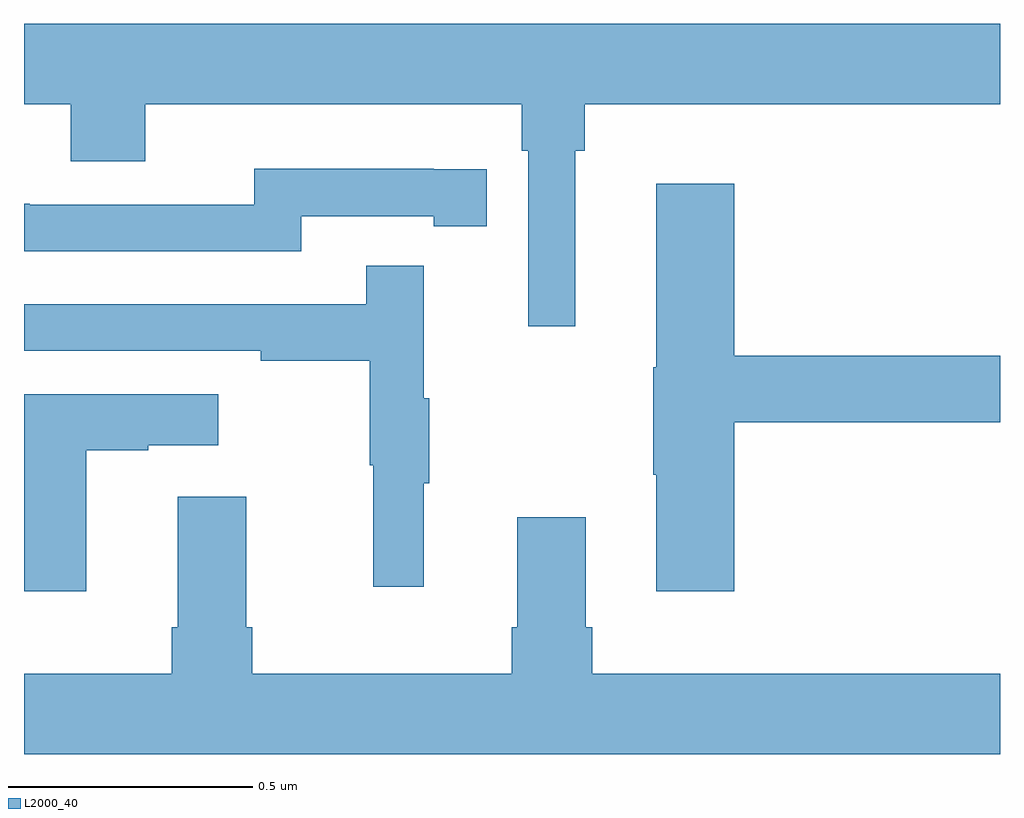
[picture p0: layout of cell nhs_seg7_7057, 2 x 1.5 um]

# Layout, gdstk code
import gdstk
lib = gdstk.Library(unit=1e-6, precision=1e-09)
def P(c, l, *ps):  # polygons
    for p in ps: c.add(gdstk.Polygon(p, *l))
L2000_40 = (2000, 40)

nhs_seg7_7057 = lib.new_cell('nhs_seg7_7057')
P(nhs_seg7_7057, L2000_40, [(207.13,1052.468),(207.149,1052.468),(207.149,1052.564),(208,1052.564),(208,1052.728),(206,1052.728),(206,1052.564),(206.096,1052.564),(206.096,1052.447),(206.248,1052.447),(206.248,1052.564),(207.02,1052.564),(207.02,1052.468),(207.033,1052.468),(207.033,1052.109),(207.13,1052.109)],
  [(206.568,1052.334),(206.84,1052.334),(206.84,1052.314),(206.948,1052.314),(206.948,1052.43),(206.84,1052.43),(206.84,1052.431),(206.472,1052.431),(206.472,1052.358),(206.012,1052.358),(206.012,1052.36),(206,1052.36),(206,1052.262),(206.568,1052.262)],
  [(207.455,1051.912),(208,1051.912),(208,1052.048),(207.455,1052.048),(207.455,1052.401),(207.296,1052.401),(207.296,1052.025),(207.289,1052.025),(207.289,1051.804),(207.296,1051.804),(207.296,1051.566),(207.455,1051.566)],
  [(206.819,1051.787),(206.83,1051.787),(206.83,1051.961),(206.819,1051.961),(206.819,1052.233),(206.701,1052.233),(206.701,1052.154),(206,1052.154),(206,1052.058),(206.485,1052.058),(206.485,1052.038),(206.709,1052.038),(206.709,1051.824),(206.716,1051.824),(206.716,1051.575),(206.819,1051.575)],
  [(206.128,1051.855),(206.255,1051.855),(206.255,1051.865),(206.398,1051.865),(206.398,1051.969),(206,1051.969),(206,1051.566),(206.128,1051.566)],
  [(208,1051.396),(207.164,1051.396),(207.164,1051.492),(207.151,1051.492),(207.151,1051.717),(207.011,1051.717),(207.011,1051.492),(206.999,1051.492),(206.999,1051.396),(206.468,1051.396),(206.468,1051.492),(206.455,1051.492),(206.455,1051.759),(206.315,1051.759),(206.315,1051.492),(206.303,1051.492),(206.303,1051.396),(206,1051.396),(206,1051.232),(208,1051.232)])

lib.write_gds('nhs_seg7_7057.gds')
